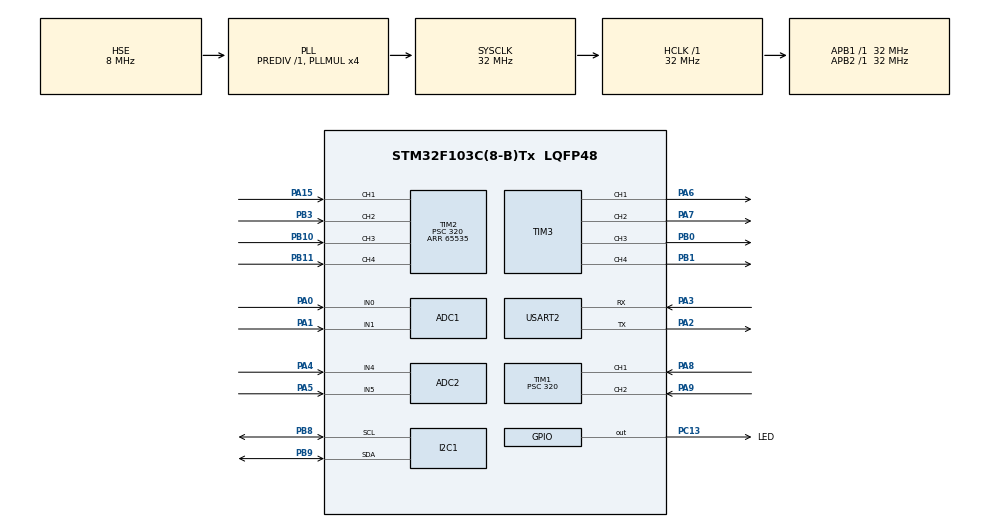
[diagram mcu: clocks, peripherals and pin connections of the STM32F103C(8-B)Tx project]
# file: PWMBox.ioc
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ADC1.Channel-18\#ChannelRegularConversion=ADC_CHANNEL_0
ADC1.Channel-19\#ChannelRegularConversion=ADC_CHANNEL_1
ADC1.ContinuousConvMode=DISABLE
ADC1.DataAlign=ADC_DATAALIGN_RIGHT
ADC1.DiscontinuousConvMode=DISABLE
ADC1.EnableAnalogWatchDog=false
ADC1.EnableRegularConversion=ENABLE
ADC1.ExternalTrigConv=ADC_SOFTWARE_START
ADC1.InjNumberOfConversion=0
ADC1.NbrOfConversion=2
ADC1.NbrOfConversionFlag=1
ADC1.Rank-18\#ChannelRegularConversion=1
ADC1.Rank-19\#ChannelRegularConversion=2
ADC1.SamplingTime-18\#ChannelRegularConversion=ADC_SAMPLETIME_1CYCLE_5
ADC1.SamplingTime-19\#ChannelRegularConversion=ADC_SAMPLETIME_1CYCLE_5
ADC1.ScanConvMode=ADC_SCAN_ENABLE
ADC1.master=1
ADC2.Channel-22\#ChannelRegularConversion=ADC_CHANNEL_4
ADC2.Channel-23\#ChannelRegularConversion=ADC_CHANNEL_5
ADC2.ContinuousConvMode=DISABLE
ADC2.DataAlign=ADC_DATAALIGN_RIGHT
ADC2.DiscontinuousConvMode=DISABLE
ADC2.EnableAnalogWatchDog=false
ADC2.EnableRegularConversion=ENABLE
ADC2.ExternalTrigConv=ADC_SOFTWARE_START
ADC2.InjNumberOfConversion=0
ADC2.NbrOfConversion=2
ADC2.NbrOfConversionFlag=1
ADC2.Rank-22\#ChannelRegularConversion=1
ADC2.Rank-23\#ChannelRegularConversion=2
ADC2.SamplingTime-22\#ChannelRegularConversion=ADC_SAMPLETIME_1CYCLE_5
ADC2.SamplingTime-23\#ChannelRegularConversion=ADC_SAMPLETIME_1CYCLE_5
ADC2.ScanConvMode=ADC_SCAN_ENABLE
Dma.ADC1.0.Direction=DMA_PERIPH_TO_MEMORY
Dma.ADC1.0.Instance=DMA1_Channel1
Dma.ADC1.0.MemDataAlignment=DMA_MDATAALIGN_HALFWORD
Dma.ADC1.0.MemInc=DMA_MINC_ENABLE
Dma.ADC1.0.Mode=DMA_CIRCULAR
Dma.ADC1.0.PeriphDataAlignment=DMA_PDATAALIGN_HALFWORD
Dma.ADC1.0.PeriphInc=DMA_PINC_DISABLE
Dma.ADC1.0.Priority=DMA_PRIORITY_LOW
Dma.I2C1_RX.1.Direction=DMA_PERIPH_TO_MEMORY
Dma.I2C1_RX.1.Instance=DMA1_Channel7
Dma.I2C1_RX.1.MemDataAlignment=DMA_MDATAALIGN_BYTE
Dma.I2C1_RX.1.MemInc=DMA_MINC_ENABLE
Dma.I2C1_RX.1.Mode=DMA_NORMAL
Dma.I2C1_RX.1.PeriphDataAlignment=DMA_PDATAALIGN_BYTE
Dma.I2C1_RX.1.PeriphInc=DMA_PINC_DISABLE
Dma.I2C1_RX.1.Priority=DMA_PRIORITY_LOW
Dma.I2C1_TX.2.Direction=DMA_MEMORY_TO_PERIPH
Dma.I2C1_TX.2.Instance=DMA1_Channel6
Dma.I2C1_TX.2.MemDataAlignment=DMA_MDATAALIGN_BYTE
Dma.I2C1_TX.2.MemInc=DMA_MINC_ENABLE
Dma.I2C1_TX.2.Mode=DMA_NORMAL
Dma.I2C1_TX.2.PeriphDataAlignment=DMA_PDATAALIGN_BYTE
Dma.I2C1_TX.2.PeriphInc=DMA_PINC_DISABLE
Dma.I2C1_TX.2.Priority=DMA_PRIORITY_LOW
Dma.Request0=ADC1
Dma.Request1=I2C1_RX
Dma.Request2=I2C1_TX
FREERTOS.INCLUDE_vTaskDelayUntil=1
FREERTOS.Tasks01=defaultTask,0,128,StartDefaultTask,Default,NULL
Mcu.Family=STM32F1
Mcu.Name=STM32F103C(8-B)Tx
Mcu.Package=LQFP48
NVIC.DMA1_Channel1_IRQn=true\:5\:0\:false\:false\:true\:true\:false
NVIC.DMA1_Channel6_IRQn=true\:5\:0\:false\:false\:true\:true\:false
NVIC.DMA1_Channel7_IRQn=true\:5\:0\:false\:false\:true\:true\:false
NVIC.I2C1_ER_IRQn=true\:5\:0\:false\:false\:true\:true\:true
NVIC.I2C1_EV_IRQn=true\:5\:0\:false\:false\:true\:true\:true
NVIC.PriorityGroup=NVIC_PRIORITYGROUP_4
NVIC.TIM1_TRG_COM_IRQn=true\:5\:0\:false\:false\:true\:true\:true
NVIC.TIM1_UP_IRQn=true\:5\:0\:false\:false\:true\:true\:true
NVIC.TIM2_IRQn=true\:5\:0\:false\:false\:true\:true\:true
NVIC.TIM4_IRQn=true\:5\:0\:false\:false\:true\:true\:true
PA0-WKUP.Signal=ADCx_IN0
PA1.Signal=ADCx_IN1
PA13.Mode=Serial_Wire
PA13.Signal=SYS_JTMS-SWDIO
PA14.Mode=Serial_Wire
PA14.Signal=SYS_JTCK-SWCLK
PA15.Signal=S_TIM2_CH1_ETR
PA2.Mode=Asynchronous
PA2.Signal=USART2_TX
PA3.Mode=Asynchronous
PA3.Signal=USART2_RX
PA4.Signal=ADCx_IN4
PA5.Signal=ADCx_IN5
PA6.Signal=S_TIM3_CH1
PA7.Signal=S_TIM3_CH2
PA8.Signal=S_TIM1_CH1
PA9.Signal=S_TIM1_CH2
PB0.Signal=S_TIM3_CH3
PB1.Signal=S_TIM3_CH4
PB10.Signal=S_TIM2_CH3
PB11.Signal=S_TIM2_CH4
PB3.Signal=S_TIM2_CH2
PB8.Mode=I2C
PB8.Signal=I2C1_SCL
PB9.Mode=I2C
PB9.Signal=I2C1_SDA
PC13-TAMPER-RTC.GPIO_Label=LED
PC13-TAMPER-RTC.Signal=GPIO_Output
PD0-OSC_IN.Mode=HSE-External-Oscillator
PD0-OSC_IN.Signal=RCC_OSC_IN
PD1-OSC_OUT.Mode=HSE-External-Oscillator
PD1-OSC_OUT.Signal=RCC_OSC_OUT
ProjectManager.HeapSize=0x200
ProjectManager.StackSize=0x400
ProjectManager.TargetToolchain=MDK-ARM V5
RCC.ADCPresc=RCC_ADCPCLK2_DIV4
RCC.AHBFreq_Value=32000000
RCC.APB1Freq_Value=32000000
RCC.APB1TimFreq_Value=32000000
RCC.APB2Freq_Value=32000000
RCC.APB2TimFreq_Value=32000000
RCC.HCLKFreq_Value=32000000
RCC.PLLMUL=RCC_PLL_MUL4
RCC.PLLSourceVirtual=RCC_PLLSOURCE_HSE
RCC.SYSCLKFreq_VALUE=32000000
RCC.SYSCLKSource=RCC_SYSCLKSOURCE_PLLCLK
RCC.USBFreq_Value=32000000
SH.ADCx_IN0.0=ADC1_IN0,IN0
SH.ADCx_IN1.0=ADC1_IN1,IN1
SH.ADCx_IN4.0=ADC2_IN4,IN4
SH.ADCx_IN5.0=ADC2_IN5,IN5
SH.S_TIM1_CH1.0=TIM1_CH1,Input_Capture1_from_TI1
SH.S_TIM1_CH2.0=TIM1_CH2,Input_Capture2_from_TI2
SH.S_TIM2_CH1_ETR.0=TIM2_CH1,Input_Capture1_from_TI1
SH.S_TIM2_CH2.0=TIM2_CH2,Input_Capture2_from_TI2
SH.S_TIM2_CH3.0=TIM2_CH3,Input_Capture3_from_TI3
SH.S_TIM2_CH4.0=TIM2_CH4,Input_Capture4_from_TI4
SH.S_TIM3_CH1.0=TIM3_CH1,PWM Generation1 CH1
SH.S_TIM3_CH2.0=TIM3_CH2,PWM Generation2 CH2
SH.S_TIM3_CH3.0=TIM3_CH3,PWM Generation3 CH3
SH.S_TIM3_CH4.0=TIM3_CH4,PWM Generation4 CH4
TIM1.Channel-Input_Capture1_from_TI1=TIM_CHANNEL_1
TIM1.Channel-Input_Capture2_from_TI2=TIM_CHANNEL_2
TIM1.ICPolarity_CH2=TIM_INPUTCHANNELPOLARITY_FALLING
TIM1.Period=65535
TIM1.Prescaler=320
TIM2.AutoReloadPreload=TIM_AUTORELOAD_PRELOAD_ENABLE
TIM2.Channel-Input_Capture1_from_TI1=TIM_CHANNEL_1
TIM2.Channel-Input_Capture2_from_TI2=TIM_CHANNEL_2
TIM2.Channel-Input_Capture3_from_TI3=TIM_CHANNEL_3
TIM2.Channel-Input_Capture4_from_TI4=TIM_CHANNEL_4
TIM2.ICPolarity_CH2=TIM_INPUTCHANNELPOLARITY_FALLING
TIM2.ICPolarity_CH4=TIM_INPUTCHANNELPOLARITY_FALLING
TIM2.Period=65535
TIM2.Prescaler=320
TIM3.Channel-PWM\ Generation1\ CH1=TIM_CHANNEL_1
TIM3.Channel-PWM\ Generation2\ CH2=TIM_CHANNEL_2
TIM3.Channel-PWM\ Generation3\ CH3=TIM_CHANNEL_3
TIM3.Channel-PWM\ Generation4\ CH4=TIM_CHANNEL_4
TIM4.AutoReloadPreload=TIM_AUTORELOAD_PRELOAD_ENABLE
TIM4.Period=1000
TIM4.Prescaler=8000
TIM4.TIM_MasterOutputTrigger=TIM_TRGO_UPDATE
USART2.VirtualMode=VM_ASYNC
VP_FREERTOS_VS_ENABLE.Mode=Enabled
VP_TIM4_VS_ClockSourceINT.Mode=Internal
board=PWMBox

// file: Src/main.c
/**
  ******************************************************************************
  * @file           : main.c
  * @brief          : Main program body
  ******************************************************************************
  * This notice applies to any and all portions of this file
  * that are not between comment pairs USER CODE BEGIN and
  * USER CODE END. Other portions of this file, whether
  * inserted by the user or by software development tools
  * are owned by their respective copyright owners.
  *
  * Copyright (c) 2018 STMicroelectronics International N.V.
  * All rights reserved.
  *
  * Redistribution and use in source and binary forms, with or without
  * modification, are permitted, provided that the following conditions are met:
  *
  * 1. Redistribution of source code must retain the above copyright notice,
  *    this list of conditions and the following disclaimer.
  * 2. Redistributions in binary form must reproduce the above copyright notice,
  *    this list of conditions and the following disclaimer in the documentation
  *    and/or other materials provided with the distribution.
  * 3. Neither the name of STMicroelectronics nor the names of other
  *    contributors to this software may be used to endorse or promote products
  *    derived from this software without specific written permission.
  * 4. This software, including modifications and/or derivative works of this
  *    software, must execute solely and exclusively on microcontroller or
  *    microprocessor devices manufactured by or for STMicroelectronics.
  * 5. Redistribution and use of this software other than as permitted under
  *    this license is void and will automatically terminate your rights under
  *    this license.
  *
  * THIS SOFTWARE IS PROVIDED BY STMICROELECTRONICS AND CONTRIBUTORS "AS IS"
  * AND ANY EXPRESS, IMPLIED OR STATUTORY WARRANTIES, INCLUDING, BUT NOT
  * LIMITED TO, THE IMPLIED WARRANTIES OF MERCHANTABILITY, FITNESS FOR A
  * PARTICULAR PURPOSE AND NON-INFRINGEMENT OF THIRD PARTY INTELLECTUAL PROPERTY
  * RIGHTS ARE DISCLAIMED TO THE FULLEST EXTENT PERMITTED BY LAW. IN NO EVENT
  * SHALL STMICROELECTRONICS OR CONTRIBUTORS BE LIABLE FOR ANY DIRECT, INDIRECT,
  * INCIDENTAL, SPECIAL, EXEMPLARY, OR CONSEQUENTIAL DAMAGES (INCLUDING, BUT NOT
  * LIMITED TO, PROCUREMENT OF SUBSTITUTE GOODS OR SERVICES; LOSS OF USE, DATA,
  * OR PROFITS; OR BUSINESS INTERRUPTION) HOWEVER CAUSED AND ON ANY THEORY OF
  * LIABILITY, WHETHER IN CONTRACT, STRICT LIABILITY, OR TORT (INCLUDING
  * NEGLIGENCE OR OTHERWISE) ARISING IN ANY WAY OUT OF THE USE OF THIS SOFTWARE,
  * EVEN IF ADVISED OF THE POSSIBILITY OF SUCH DAMAGE.
  *
  ******************************************************************************
  */
#include "main.h"
#include "stm32f1xx_hal.h"
#include "cmsis_os.h"

/* USER CODE BEGIN Includes */
#include "init.h"
#include "lcd_hd44780_i2c.h"
#include "adc.h"
/* USER CODE END Includes */

ADC_HandleTypeDef hadc1;
ADC_HandleTypeDef hadc2;
DMA_HandleTypeDef hdma_adc1;

I2C_HandleTypeDef hi2c1;
DMA_HandleTypeDef hdma_i2c1_rx;
DMA_HandleTypeDef hdma_i2c1_tx;

TIM_HandleTypeDef htim1;
TIM_HandleTypeDef htim2;
TIM_HandleTypeDef htim3;
TIM_HandleTypeDef htim4;

UART_HandleTypeDef huart2;

osThreadId defaultTaskHandle;

/* USER CODE BEGIN PV */
/* Private variables ---------------------------------------------------------*/
uint16_t	IC_Rising_Val; // Direct mode	Rising Edge Detection
uint16_t	IC_Falling_Val; // Direct mode	Faling Edge Detection
uint16_t	CH2_IC_Rising_Val; // Direct mode	Rising Edge Detection
uint16_t	CH2_IC_Falling_Val; // Direct mode	Faling Edge Detection
/* USER CODE END PV */

void SystemClock_Config(void);
static void MX_GPIO_Init(void);
static void MX_DMA_Init(void);
static void MX_TIM1_Init(void);
static void MX_TIM3_Init(void);
static void MX_USART2_UART_Init(void);
static void MX_TIM2_Init(void);
static void MX_I2C1_Init(void);
static void MX_TIM4_Init(void);
static void MX_ADC1_Init(void);
static void MX_ADC2_Init(void);
void StartDefaultTask(void const * argument);

void HAL_TIM_MspPostInit(TIM_HandleTypeDef *htim);

/* USER CODE BEGIN PFP */
/* Private function prototypes -----------------------------------------------*/
void HAL_TIM_IC_CaptureCallback(TIM_HandleTypeDef *htim);
/* USER CODE END PFP */

int main(void)
{

  /* MCU Configuration----------------------------------------------------------*/

  /* Reset of all peripherals, Initializes the Flash interface and the Systick. */
  HAL_Init();

  /* Configure the system clock */
  SystemClock_Config();

  /* Initialize all configured peripherals */
  MX_GPIO_Init();
  MX_DMA_Init();
  MX_TIM1_Init();
  MX_TIM3_Init();
  MX_USART2_UART_Init();
  MX_TIM2_Init();
  MX_I2C1_Init();
  MX_TIM4_Init();
  MX_ADC1_Init();
  MX_ADC2_Init();
  /* USER CODE BEGIN 2 */
	init_board();
	ADC_init();
	HAL_TIM_Base_Start_IT(&htim4);
  /* USER CODE END 2 */

  /* Create the thread(s) */
  /* definition and creation of defaultTask */
  osThreadDef(defaultTask, StartDefaultTask, osPriorityNormal, 0, 128);
  defaultTaskHandle = osThreadCreate(osThread(defaultTask), NULL);

  /* Start scheduler */
  osKernelStart();

  /* We should never get here as control is now taken by the scheduler */

  /* Infinite loop */
  while (1)
  {

  }

}

void SystemClock_Config(void)
{

  RCC_OscInitTypeDef RCC_OscInitStruct;
  RCC_ClkInitTypeDef RCC_ClkInitStruct;
  RCC_PeriphCLKInitTypeDef PeriphClkInit;

    /**Initializes the CPU, AHB and APB busses clocks
    */
  RCC_OscInitStruct.OscillatorType = RCC_OSCILLATORTYPE_HSE;
  RCC_OscInitStruct.HSEState = RCC_HSE_ON;
  RCC_OscInitStruct.HSEPredivValue = RCC_HSE_PREDIV_DIV1;
  RCC_OscInitStruct.HSIState = RCC_HSI_ON;
  RCC_OscInitStruct.PLL.PLLState = RCC_PLL_ON;
  RCC_OscInitStruct.PLL.PLLSource = RCC_PLLSOURCE_HSE;
  RCC_OscInitStruct.PLL.PLLMUL = RCC_PLL_MUL4;
  if (HAL_RCC_OscConfig(&RCC_OscInitStruct) != HAL_OK)
  {
    _Error_Handler(__FILE__, __LINE__);
  }

    /**Initializes the CPU, AHB and APB busses clocks
    */
  RCC_ClkInitStruct.ClockType = RCC_CLOCKTYPE_HCLK|RCC_CLOCKTYPE_SYSCLK
                              |RCC_CLOCKTYPE_PCLK1|RCC_CLOCKTYPE_PCLK2;
  RCC_ClkInitStruct.SYSCLKSource = RCC_SYSCLKSOURCE_PLLCLK;
  RCC_ClkInitStruct.AHBCLKDivider = RCC_SYSCLK_DIV1;
  RCC_ClkInitStruct.APB1CLKDivider = RCC_HCLK_DIV1;
  RCC_ClkInitStruct.APB2CLKDivider = RCC_HCLK_DIV1;

  if (HAL_RCC_ClockConfig(&RCC_ClkInitStruct, FLASH_LATENCY_1) != HAL_OK)
  {
    _Error_Handler(__FILE__, __LINE__);
  }

  PeriphClkInit.PeriphClockSelection = RCC_PERIPHCLK_ADC;
  PeriphClkInit.AdcClockSelection = RCC_ADCPCLK2_DIV4;
  if (HAL_RCCEx_PeriphCLKConfig(&PeriphClkInit) != HAL_OK)
  {
    _Error_Handler(__FILE__, __LINE__);
  }

    /**Configure the Systick interrupt time
    */
  HAL_SYSTICK_Config(HAL_RCC_GetHCLKFreq()/1000);

    /**Configure the Systick
    */
  HAL_SYSTICK_CLKSourceConfig(SYSTICK_CLKSOURCE_HCLK);

  /* SysTick_IRQn interrupt configuration */
  HAL_NVIC_SetPriority(SysTick_IRQn, 15, 0);
}

/* ADC1 init function */
static void MX_ADC1_Init(void)
{

  ADC_ChannelConfTypeDef sConfig;

    /**Common config
    */
  hadc1.Instance = ADC1;
  hadc1.Init.ScanConvMode = ADC_SCAN_ENABLE;
  hadc1.Init.ContinuousConvMode = DISABLE;
  hadc1.Init.DiscontinuousConvMode = DISABLE;
  hadc1.Init.ExternalTrigConv = ADC_SOFTWARE_START;
  hadc1.Init.DataAlign = ADC_DATAALIGN_RIGHT;
  hadc1.Init.NbrOfConversion = 2;
  if (HAL_ADC_Init(&hadc1) != HAL_OK)
  {
    _Error_Handler(__FILE__, __LINE__);
  }

    /**Configure Regular Channel
    */
  sConfig.Channel = ADC_CHANNEL_0;
  sConfig.Rank = ADC_REGULAR_RANK_1;
  sConfig.SamplingTime = ADC_SAMPLETIME_1CYCLE_5;
  if (HAL_ADC_ConfigChannel(&hadc1, &sConfig) != HAL_OK)
  {
    _Error_Handler(__FILE__, __LINE__);
  }

    /**Configure Regular Channel
    */
  sConfig.Channel = ADC_CHANNEL_1;
  sConfig.Rank = ADC_REGULAR_RANK_2;
  if (HAL_ADC_ConfigChannel(&hadc1, &sConfig) != HAL_OK)
  {
    _Error_Handler(__FILE__, __LINE__);
  }

}

/* ADC2 init function */
static void MX_ADC2_Init(void)
{

  ADC_ChannelConfTypeDef sConfig;

    /**Common config
    */
  hadc2.Instance = ADC2;
  hadc2.Init.ScanConvMode = ADC_SCAN_ENABLE;
  hadc2.Init.ContinuousConvMode = DISABLE;
  hadc2.Init.DiscontinuousConvMode = DISABLE;
  hadc2.Init.ExternalTrigConv = ADC_SOFTWARE_START;
  hadc2.Init.DataAlign = ADC_DATAALIGN_RIGHT;
  hadc2.Init.NbrOfConversion = 2;
  if (HAL_ADC_Init(&hadc2) != HAL_OK)
  {
    _Error_Handler(__FILE__, __LINE__);
  }

    /**Configure Regular Channel
    */
  sConfig.Channel = ADC_CHANNEL_4;
  sConfig.Rank = ADC_REGULAR_RANK_1;
  sConfig.SamplingTime = ADC_SAMPLETIME_1CYCLE_5;
  if (HAL_ADC_ConfigChannel(&hadc2, &sConfig) != HAL_OK)
  {
    _Error_Handler(__FILE__, __LINE__);
  }

    /**Configure Regular Channel
    */
  sConfig.Channel = ADC_CHANNEL_5;
  sConfig.Rank = ADC_REGULAR_RANK_2;
  if (HAL_ADC_ConfigChannel(&hadc2, &sConfig) != HAL_OK)
  {
    _Error_Handler(__FILE__, __LINE__);
  }

}

/* I2C1 init function */
static void MX_I2C1_Init(void)
{

  hi2c1.Instance = I2C1;
  hi2c1.Init.ClockSpeed = 100000;
  hi2c1.Init.DutyCycle = I2C_DUTYCYCLE_2;
  hi2c1.Init.OwnAddress1 = 0;
  hi2c1.Init.AddressingMode = I2C_ADDRESSINGMODE_7BIT;
  hi2c1.Init.DualAddressMode = I2C_DUALADDRESS_DISABLE;
  hi2c1.Init.OwnAddress2 = 0;
  hi2c1.Init.GeneralCallMode = I2C_GENERALCALL_DISABLE;
  hi2c1.Init.NoStretchMode = I2C_NOSTRETCH_DISABLE;
  if (HAL_I2C_Init(&hi2c1) != HAL_OK)
  {
    _Error_Handler(__FILE__, __LINE__);
  }

}

/* TIM1 init function */
static void MX_TIM1_Init(void)
{

  TIM_MasterConfigTypeDef sMasterConfig;
  TIM_IC_InitTypeDef sConfigIC;

  htim1.Instance = TIM1;
  htim1.Init.Prescaler = 320;
  htim1.Init.CounterMode = TIM_COUNTERMODE_UP;
  htim1.Init.Period = 65535;
  htim1.Init.ClockDivision = TIM_CLOCKDIVISION_DIV1;
  htim1.Init.RepetitionCounter = 0;
  htim1.Init.AutoReloadPreload = TIM_AUTORELOAD_PRELOAD_DISABLE;
  if (HAL_TIM_IC_Init(&htim1) != HAL_OK)
  {
    _Error_Handler(__FILE__, __LINE__);
  }

  sMasterConfig.MasterOutputTrigger = TIM_TRGO_RESET;
  sMasterConfig.MasterSlaveMode = TIM_MASTERSLAVEMODE_DISABLE;
  if (HAL_TIMEx_MasterConfigSynchronization(&htim1, &sMasterConfig) != HAL_OK)
  {
    _Error_Handler(__FILE__, __LINE__);
  }

  sConfigIC.ICPolarity = TIM_INPUTCHANNELPOLARITY_RISING;
  sConfigIC.ICSelection = TIM_ICSELECTION_DIRECTTI;
  sConfigIC.ICPrescaler = TIM_ICPSC_DIV1;
  sConfigIC.ICFilter = 0;
  if (HAL_TIM_IC_ConfigChannel(&htim1, &sConfigIC, TIM_CHANNEL_1) != HAL_OK)
  {
    _Error_Handler(__FILE__, __LINE__);
  }

  sConfigIC.ICPolarity = TIM_INPUTCHANNELPOLARITY_FALLING;
  if (HAL_TIM_IC_ConfigChannel(&htim1, &sConfigIC, TIM_CHANNEL_2) != HAL_OK)
  {
    _Error_Handler(__FILE__, __LINE__);
  }

}

/* TIM2 init function */
static void MX_TIM2_Init(void)
{

  TIM_MasterConfigTypeDef sMasterConfig;
  TIM_IC_InitTypeDef sConfigIC;

  htim2.Instance = TIM2;
  htim2.Init.Prescaler = 320;
  htim2.Init.CounterMode = TIM_COUNTERMODE_UP;
  htim2.Init.Period = 65535;
  htim2.Init.ClockDivision = TIM_CLOCKDIVISION_DIV1;
  htim2.Init.AutoReloadPreload = TIM_AUTORELOAD_PRELOAD_ENABLE;
  if (HAL_TIM_IC_Init(&htim2) != HAL_OK)
  {
    _Error_Handler(__FILE__, __LINE__);
  }

  sMasterConfig.MasterOutputTrigger = TIM_TRGO_RESET;
  sMasterConfig.MasterSlaveMode = TIM_MASTERSLAVEMODE_DISABLE;
  if (HAL_TIMEx_MasterConfigSynchronization(&htim2, &sMasterConfig) != HAL_OK)
  {
    _Error_Handler(__FILE__, __LINE__);
  }

  sConfigIC.ICPolarity = TIM_INPUTCHANNELPOLARITY_RISING;
  sConfigIC.ICSelection = TIM_ICSELECTION_DIRECTTI;
  sConfigIC.ICPrescaler = TIM_ICPSC_DIV1;
  sConfigIC.ICFilter = 0;
  if (HAL_TIM_IC_ConfigChannel(&htim2, &sConfigIC, TIM_CHANNEL_1) != HAL_OK)
  {
    _Error_Handler(__FILE__, __LINE__);
  }

  sConfigIC.ICPolarity = TIM_INPUTCHANNELPOLARITY_FALLING;
  if (HAL_TIM_IC_ConfigChannel(&htim2, &sConfigIC, TIM_CHANNEL_2) != HAL_OK)
  {
    _Error_Handler(__FILE__, __LINE__);
  }

  sConfigIC.ICPolarity = TIM_INPUTCHANNELPOLARITY_RISING;
  if (HAL_TIM_IC_ConfigChannel(&htim2, &sConfigIC, TIM_CHANNEL_3) != HAL_OK)
  {
    _Error_Handler(__FILE__, __LINE__);
  }

  sConfigIC.ICPolarity = TIM_INPUTCHANNELPOLARITY_FALLING;
  if (HAL_TIM_IC_ConfigChannel(&htim2, &sConfigIC, TIM_CHANNEL_4) != HAL_OK)
  {
    _Error_Handler(__FILE__, __LINE__);
  }

}

/* TIM3 init function */
static void MX_TIM3_Init(void)
{

  TIM_MasterConfigTypeDef sMasterConfig;
  TIM_OC_InitTypeDef sConfigOC;

  htim3.Instance = TIM3;
  htim3.Init.Prescaler = 0;
  htim3.Init.CounterMode = TIM_COUNTERMODE_UP;
  htim3.Init.Period = 0;
  htim3.Init.ClockDivision = TIM_CLOCKDIVISION_DIV1;
  htim3.Init.AutoReloadPreload = TIM_AUTORELOAD_PRELOAD_DISABLE;
  if (HAL_TIM_PWM_Init(&htim3) != HAL_OK)
  {
    _Error_Handler(__FILE__, __LINE__);
  }

  sMasterConfig.MasterOutputTrigger = TIM_TRGO_RESET;
  sMasterConfig.MasterSlaveMode = TIM_MASTERSLAVEMODE_DISABLE;
  if (HAL_TIMEx_MasterConfigSynchronization(&htim3, &sMasterConfig) != HAL_OK)
  {
    _Error_Handler(__FILE__, __LINE__);
  }

  sConfigOC.OCMode = TIM_OCMODE_PWM1;
  sConfigOC.Pulse = 0;
  sConfigOC.OCPolarity = TIM_OCPOLARITY_HIGH;
  sConfigOC.OCFastMode = TIM_OCFAST_DISABLE;
  if (HAL_TIM_PWM_ConfigChannel(&htim3, &sConfigOC, TIM_CHANNEL_1) != HAL_OK)
  {
    _Error_Handler(__FILE__, __LINE__);
  }

  if (HAL_TIM_PWM_ConfigChannel(&htim3, &sConfigOC, TIM_CHANNEL_2) != HAL_OK)
  {
    _Error_Handler(__FILE__, __LINE__);
  }

  if (HAL_TIM_PWM_ConfigChannel(&htim3, &sConfigOC, TIM_CHANNEL_3) != HAL_OK)
  {
    _Error_Handler(__FILE__, __LINE__);
  }

  if (HAL_TIM_PWM_ConfigChannel(&htim3, &sConfigOC, TIM_CHANNEL_4) != HAL_OK)
  {
    _Error_Handler(__FILE__, __LINE__);
  }

  HAL_TIM_MspPostInit(&htim3);

}

/* TIM4 init function */
static void MX_TIM4_Init(void)
{

  TIM_ClockConfigTypeDef sClockSourceConfig;
  TIM_MasterConfigTypeDef sMasterConfig;

  htim4.Instance = TIM4;
  htim4.Init.Prescaler = 8000;
  htim4.Init.CounterMode = TIM_COUNTERMODE_UP;
  htim4.Init.Period = 1000;
  htim4.Init.ClockDivision = TIM_CLOCKDIVISION_DIV1;
  htim4.Init.AutoReloadPreload = TIM_AUTORELOAD_PRELOAD_ENABLE;
  if (HAL_TIM_Base_Init(&htim4) != HAL_OK)
  {
    _Error_Handler(__FILE__, __LINE__);
  }

  sClockSourceConfig.ClockSource = TIM_CLOCKSOURCE_INTERNAL;
  if (HAL_TIM_ConfigClockSource(&htim4, &sClockSourceConfig) != HAL_OK)
  {
    _Error_Handler(__FILE__, __LINE__);
  }

  sMasterConfig.MasterOutputTrigger = TIM_TRGO_UPDATE;
  sMasterConfig.MasterSlaveMode = TIM_MASTERSLAVEMODE_DISABLE;
  if (HAL_TIMEx_MasterConfigSynchronization(&htim4, &sMasterConfig) != HAL_OK)
  {
    _Error_Handler(__FILE__, __LINE__);
  }

}

/* USART2 init function */
static void MX_USART2_UART_Init(void)
{

  huart2.Instance = USART2;
  huart2.Init.BaudRate = 115200;
  huart2.Init.WordLength = UART_WORDLENGTH_8B;
  huart2.Init.StopBits = UART_STOPBITS_1;
  huart2.Init.Parity = UART_PARITY_NONE;
  huart2.Init.Mode = UART_MODE_TX_RX;
  huart2.Init.HwFlowCtl = UART_HWCONTROL_NONE;
  huart2.Init.OverSampling = UART_OVERSAMPLING_16;
  if (HAL_UART_Init(&huart2) != HAL_OK)
  {
    _Error_Handler(__FILE__, __LINE__);
  }

}

static void MX_DMA_Init(void)
{
  /* DMA controller clock enable */
  __HAL_RCC_DMA1_CLK_ENABLE();

  /* DMA interrupt init */
  /* DMA1_Channel1_IRQn interrupt configuration */
  HAL_NVIC_SetPriority(DMA1_Channel1_IRQn, 5, 0);
  HAL_NVIC_EnableIRQ(DMA1_Channel1_IRQn);
  /* DMA1_Channel6_IRQn interrupt configuration */
  HAL_NVIC_SetPriority(DMA1_Channel6_IRQn, 5, 0);
  HAL_NVIC_EnableIRQ(DMA1_Channel6_IRQn);
  /* DMA1_Channel7_IRQn interrupt configuration */
  HAL_NVIC_SetPriority(DMA1_Channel7_IRQn, 5, 0);
  HAL_NVIC_EnableIRQ(DMA1_Channel7_IRQn);

}

/** Configure pins as
        * Analog
        * Input
        * Output
        * EVENT_OUT
        * EXTI
*/
static void MX_GPIO_Init(void)
{

  GPIO_InitTypeDef GPIO_InitStruct;

  /* GPIO Ports Clock Enable */
  __HAL_RCC_GPIOC_CLK_ENABLE();
  __HAL_RCC_GPIOD_CLK_ENABLE();
  __HAL_RCC_GPIOA_CLK_ENABLE();
  __HAL_RCC_GPIOB_CLK_ENABLE();

  /*Configure GPIO pin Output Level */
  HAL_GPIO_WritePin(LED_GPIO_Port, LED_Pin, GPIO_PIN_RESET);

  /*Configure GPIO pin : LED_Pin */
  GPIO_InitStruct.Pin = LED_Pin;
  GPIO_InitStruct.Mode = GPIO_MODE_OUTPUT_PP;
  GPIO_InitStruct.Speed = GPIO_SPEED_FREQ_LOW;
  HAL_GPIO_Init(LED_GPIO_Port, &GPIO_InitStruct);

}

/* USER CODE BEGIN 4 */
void HAL_TIM_IC_CaptureCallback(TIM_HandleTypeDef *htim)
{
	if (htim->Instance==TIM2)
	{
		if (htim->Channel == HAL_TIM_ACTIVE_CHANNEL_1) // =RISING= EDGE DETECTED
		{
		// Get =RISING= EDGE Capture value
		IC_Rising_Val = HAL_TIM_ReadCapturedValue(htim, TIM_CHANNEL_1);
		// Reset Counter After Input Capture Interrupt Occurs
			__HAL_TIM_SET_COUNTER(&htim2,0x00);
		}

		if (htim->Channel == HAL_TIM_ACTIVE_CHANNEL_2) // =FALLING= EDGE DETECTED
		{
		// Get =FALLING= EDGE Capture value
		IC_Falling_Val = HAL_TIM_ReadCapturedValue(htim, TIM_CHANNEL_2);
		// Reset Counter After Input Capture Interrupt Occurs
		__HAL_TIM_SET_COUNTER(&htim2, 0x00);
		}
		if (htim->Channel == HAL_TIM_ACTIVE_CHANNEL_3) // =RISING= EDGE DETECTED
		{
		// Get =RISING= EDGE Capture value
		CH2_IC_Rising_Val = HAL_TIM_ReadCapturedValue(htim, TIM_CHANNEL_3);
		// Reset Counter After Input Capture Interrupt Occurs
			__HAL_TIM_SET_COUNTER(&htim2,0x00);
		}

		if (htim->Channel == HAL_TIM_ACTIVE_CHANNEL_4) // =FALLING= EDGE DETECTED
		{
		// Get =FALLING= EDGE Capture value
		CH2_IC_Falling_Val = HAL_TIM_ReadCapturedValue(htim, TIM_CHANNEL_4);
		// Reset Counter After Input Capture Interrupt Occurs
		__HAL_TIM_SET_COUNTER(&htim2, 0x00);
		}
	}
}
/* USER CODE END 4 */

/* StartDefaultTask function */
void StartDefaultTask(void const * argument)
{

  /* USER CODE BEGIN 5 */
  /* Infinite loop */
	char data[16];
	initLCD();

	for (;;) {

		vTaskDelay(100);

		//CH1 PWM
		int period = IC_Rising_Val + IC_Falling_Val;
		float frequency = 32.0f; //10e6, MHz
		frequency/=320.0f; //Timer freq
		float fl_per = 1/frequency * period; //Time of period
		float f = 1/fl_per;
		float pwm_ms = fl_per*((float)IC_Falling_Val)/((float)period);

		//CH2 PWM
		int period2 = CH2_IC_Rising_Val + CH2_IC_Falling_Val;
		float frequency2 = 32.0f; //10e6, MHz
		frequency2/=320.0f; //Timer freq
		float fl_per2 = 1/frequency2 * period2; //Time of period
		float f2 = 1/fl_per2;
		float pwm_ms2 = fl_per2*((float)CH2_IC_Falling_Val)/((float)period2);

		//CH1 CH2 ADC

		uint16_t adc1Data1 = GET_VOLT1();
		uint16_t adc1Data2 = GET_VOLT2();
		float adc1V1 = (float)adc1Data1 / 4095.f * 3.3f * 5.3;
		float adc1V2 = (float)adc1Data2 / 4095.f * 3.3f * 5.3;
		//vTaskDelay(100);
		lcdSetCursorPosition(0, 0);
		sprintf(data,"1:%4.0f          ",pwm_ms);
		lcdPrintStr((uint8_t*)data, strlen(data));
		lcdSetCursorPosition(0, 1);
		sprintf(data,"%3.0f;%1.2f;       ",f*1000000,adc1V1);
		lcdPrintStr((uint8_t*)data, strlen(data));
		IC_Rising_Val=0;
		IC_Falling_Val=0;
		CH2_IC_Rising_Val=0;
		CH2_IC_Falling_Val=0;
		HAL_ADC_Start(&hadc1);
	}
  /* USER CODE END 5 */
}

void _Error_Handler(char *file, int line)
{
  while(1)
  {
  }
}

/************************ (C) COPYRIGHT STMicroelectronics *****END OF FILE****/
